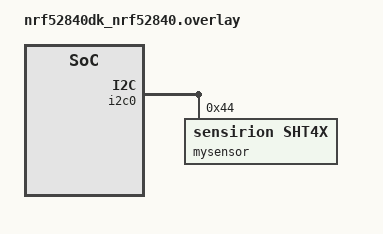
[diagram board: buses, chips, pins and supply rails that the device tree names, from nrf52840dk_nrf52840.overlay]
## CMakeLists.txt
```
# SPDX-License-Identifier: Apache-2.0

cmake_minimum_required(VERSION 3.20.0)

SET(SHIELD "waveshare_epaper_gdey0213b74")
find_package(Zephyr REQUIRED HINTS $ENV{ZEPHYR_BASE})
project(sensor_node)

FILE(GLOB app_sources src/*.c src/app/*.c)
target_sources(app PRIVATE ${app_sources})
```

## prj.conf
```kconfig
############ Power Management configs (uncomment for low-power optimization)
CONFIG_SERIAL=n
CONFIG_CONSOLE=n

# Logging config - Set to n to disable logging and reduce power consumption
CONFIG_LOG=n

############ Power Management configs (uncomment for low-power optimization)
# CONFIG_LOG=y

# CONFIG_SHELL=y
# CONFIG_PM_DEVICE_SHELL=y
# CONFIG_I2C_SHELL=y
# CONFIG_SENSOR_SHELL=y

CONFIG_MAIN_STACK_SIZE=2048

# Bluetooth configs
CONFIG_BT=y
CONFIG_BT_OBSERVER=y
CONFIG_BT_BROADCASTER=y
CONFIG_BT_EXT_ADV=y
CONFIG_BT_PER_ADV_SYNC=y

CONFIG_BT_MAX_CONN=1
CONFIG_BT_PERIPHERAL=y
CONFIG_BT_PER_ADV_SYNC_TRANSFER_SENDER=y
CONFIG_BT_PER_ADV_SYNC_TRANSFER_RECEIVER=y

CONFIG_BT_PER_ADV_SYNC_RSP=y
CONFIG_BT_PER_ADV_SYNC_BUF_SIZE=247

# State machine framework
CONFIG_SMF=y

# Sensor configs
CONFIG_CBPRINTF_FP_SUPPORT=y
CONFIG_I2C=y
CONFIG_SENSOR=y
CONFIG_SHT4X=y

# Display configs
CONFIG_DISPLAY=y
CONFIG_PM_DEVICE=y
CONFIG_PM_DEVICE_RUNTIME=y
# CONFIG_PM_DEVICE_LOG_LEVEL_DBG=y

#LVGL configs
CONFIG_LVGL=y
CONFIG_LV_MEM_CUSTOM=y
CONFIG_LV_USE_QRCODE=y
CONFIG_LV_USE_LOG=y
CONFIG_LV_USE_LABEL=y
CONFIG_LV_USE_BTN=y
CONFIG_LV_USE_ARC=y
CONFIG_LV_USE_IMG=y
CONFIG_LV_USE_MONKEY=y
CONFIG_LV_FONT_MONTSERRAT_14=y
CONFIG_LV_FONT_MONTSERRAT_20=y
CONFIG_LV_Z_VDB_SIZE=100
CONFIG_LV_Z_MEM_POOL_SIZE=16384
```

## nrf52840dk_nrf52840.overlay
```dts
// To get started, press Ctrl+Space (or Option+Esc) to bring up the completion menu and view the available nodes.

// You can also use the buttons in the sidebar to perform actions on nodes.
// Actions currently available include:

// * Enabling / disabling the node
// * Adding the bus to a bus
// * Removing the node
// * Connecting ADC channels

// For more help, browse the DeviceTree documentation at https://docs.zephyrproject.org/latest/guides/dts/index.html
// You can also visit the nRF DeviceTree extension documentation at https://nrfconnect.github.io/vscode-nrf-connect/devicetree/nrfdevicetree.html

&i2c0 {
    mysensor: sht4x@44 {
        compatible = "sensirion,sht4x";
        repeatability = <2>;
        reg = <0x44>;   
    };
    /delete-property/ zephyr,pm-device-runtime-auto;
};
```

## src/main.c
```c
/*
 * Copyright (c) 2024 Novel Bits, LLC
 *
 * SPDX-License-Identifier: MIT License
 */

#include "app/device_id.h"
#include "app/sensor_node_sm.h"
#include "app/sensor_interface.h"
#include "app/ble_interface.h"
#include "app/epaper_display.h"

// TODO: UNCOMMENT to enable low power mode
// #define LOW_POWER_MODE

// Define delays for Low Power Mode and Regular Mode
#ifdef LOW_POWER_MODE
#define LOOP_DELAY 10000 // 10 seconds in Low Power Mode
#define SENSOR_UDPATE_DELAY 10000 // 10 seconds in Low Power Mode
#define DISPLAY_UPDATE_DELAY 36000 // 1 hour in Low Power Mode
#else
#define LOOP_DELAY 100 // 100 msec in Regular Mode
#define SENSOR_UDPATE_DELAY 1000 // 1 second in Regular Mode
#define DISPLAY_UPDATE_DELAY 30000 // 30 seconds in Regular Mode
#endif

// Sensor data
extern sensor_data_t sensor_data;

int main(void)
{
    uint32_t counter = 0;

    printk("Initializing System [Sensor Node #%d]\n", DEVICE_ID);

    // Initialize sensor interface
    sensor_capture_data();

    // Initialize ePaper display
    epaper_display_init();

    // Initialize BLE
    ble_init();

    // Register callbacks for periodic adv sync
    ble_register_periodic_adv_sync_callbacks();

    // Initialize State Machine
    sensor_node_sm_init();

    do {

        // Run the state machine
        if (sensor_node_sm_run())
        {
            /* handle return code and terminate state machine */
            printk("Error running state machine\n");
            break;
        }

        // Only update sensor reading every N msec (depends on settings at top of file)
        if (counter % (SENSOR_UDPATE_DELAY/LOOP_DELAY) == 0)
        {
            // Capture sensor data
            sensor_capture_data();
        }

        // Only update display every M msec (depends on settings at top of file)
        if (counter % (DISPLAY_UPDATE_DELAY/LOOP_DELAY) == 0)
        {
            // Update display with sensor data
            epaper_display_update_sensor_data();
        }

        // Sleep for X msec (depends on device mode and settings at top of file)
        k_msleep(LOOP_DELAY);

        // Increment counter
        counter++;
    } while (true);

    return 0;
}
```
